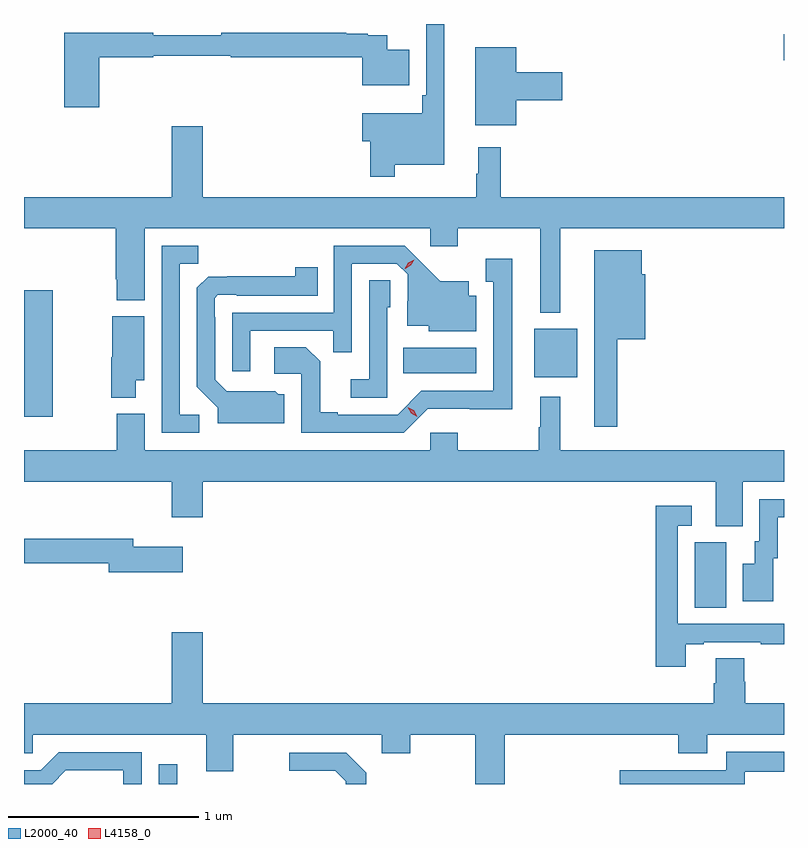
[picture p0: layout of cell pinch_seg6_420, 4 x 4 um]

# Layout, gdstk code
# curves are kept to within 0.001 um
import gdstk
lib = gdstk.Library(unit=1e-6, precision=1e-09)
def R(c, l, rs):  # rectangles x0, y0, x1, y1
    for r in rs: c.add(gdstk.rectangle(r[:2], r[2:], *l))
def P(c, l, *ps):  # polygons
    for p in ps: c.add(gdstk.Polygon(p, *l))
L2000_40 = (2000, 40)
L4158_0 = (4158, 0)

pinch_seg6_420 = lib.new_cell('pinch_seg6_420')
R(pinch_seg6_420, L2000_40, [(644.461,921.768,644.557,921.871), (647.282,922.696,647.446,923.04), (643.751,923.7,643.902,924.367), (646.436,923.909,646.663,924.163), (645.748,923.93,646.132,924.064), (647.75,925.578,647.751,925.714)])
P(pinch_seg6_420, L2000_40, [(645.703,925.028),(645.964,925.028),(645.964,925.768),(645.867,925.768),(645.867,925.393),(645.847,925.393),(645.847,925.297),(645.53,925.297),(645.53,925.15),(645.574,925.15),(645.574,924.963),(645.703,924.963)],
  [(644.147,925.594),(644.43,925.594),(644.43,925.602),(644.838,925.602),(644.838,925.594),(645.53,925.594),(645.53,925.445),(645.778,925.445),(645.778,925.633),(645.664,925.633),(645.664,925.71),(645.56,925.71),(645.56,925.716),(645.446,925.716),(645.446,925.723),(644.788,925.723),(644.788,925.71),(644.432,925.71),(644.432,925.723),(643.964,925.723),(643.964,925.329),(644.147,925.329)],
  [(646.342,925.367),(646.585,925.367),(646.585,925.514),(646.342,925.514),(646.342,925.645),(646.127,925.645),(646.127,925.235),(646.342,925.235)],
  [(646.573,924.692),(647.751,924.692),(647.751,924.856),(646.259,924.856),(646.259,925.12),(646.142,925.12),(646.142,924.98),(646.131,924.98),(646.131,924.856),(644.692,924.856),(644.692,925.231),(644.528,925.231),(644.528,924.856),(643.751,924.856),(643.751,924.692),(644.234,924.692),(644.234,924.424),(644.239,924.424),(644.239,924.314),(644.386,924.314),(644.386,924.692),(645.888,924.692),(645.888,924.597),(646.035,924.597),(646.035,924.692),(646.469,924.692),(646.469,924.248),(646.573,924.248)],
  [(644.943,924.153),(645.379,924.153),(645.379,924.04),(645.477,924.04),(645.477,924.507),(645.714,924.507),(645.771,924.45),(645.771,924.308),(645.767,924.308),(645.767,924.179),(645.882,924.179),(645.882,924.152),(646.132,924.152),(646.132,924.337),(646.093,924.337),(646.093,924.415),(645.941,924.415),(645.754,924.6),(645.381,924.6),(645.381,924.249),(644.847,924.249),(644.847,923.94),(644.943,923.94)],
  [(644.674,923.712),(644.571,923.712),(644.571,924.505),(644.667,924.505),(644.667,924.6),(644.475,924.6),(644.475,923.616),(644.674,923.616)],
  [(646.873,924.11),(647.02,924.11),(647.02,924.45),(647.002,924.45),(647.002,924.577),(646.751,924.577),(646.751,923.649),(646.873,923.649)],
  [(645.876,923.742),(646.321,923.741),(646.321,924.532),(646.181,924.532),(646.181,924.411),(646.22,924.411),(646.22,923.838),(645.843,923.838),(645.717,923.712),(645.403,923.712),(645.403,923.725),(645.309,923.725),(645.309,923.992),(645.233,924.068),(645.069,924.068),(645.069,923.928),(645.21,923.928),(645.21,923.616),(645.75,923.616)],
  [(645.121,923.82),(645.09,923.82),(645.074,923.836),(644.817,923.835),(644.757,923.895),(644.757,924.224),(644.754,924.224),(644.754,924.324),(644.772,924.342),(644.872,924.342),(644.872,924.339),(645.296,924.339),(645.296,924.487),(645.178,924.487),(645.178,924.44),(644.72,924.439),(644.661,924.38),(644.661,923.858),(644.771,923.748),(644.771,923.666),(645.121,923.666)],
  [(645.663,924.276),(645.678,924.276),(645.678,924.419),(645.567,924.419),(645.567,923.899),(645.471,923.899),(645.471,923.802),(645.663,923.802)],
  [(644.338,923.894),(644.383,923.894),(644.383,924.229),(644.216,924.229),(644.216,924.015),(644.209,924.015),(644.209,923.801),(644.338,923.801)],
  [(647.533,923.36),(647.751,923.36),(647.751,923.524),(646.573,923.524),(646.573,923.806),(646.469,923.806),(646.469,923.645),(646.459,923.645),(646.459,923.524),(646.035,923.524),(646.035,923.617),(645.888,923.617),(645.888,923.524),(644.386,923.524),(644.386,923.716),(644.239,923.716),(644.239,923.524),(643.751,923.524),(643.751,923.36),(644.528,923.36),(644.528,923.172),(644.692,923.172),(644.692,923.36),(647.393,923.36),(647.393,923.125),(647.533,923.125)],
  [(647.695,922.956),(647.719,922.956),(647.719,923.172),(647.751,923.172),(647.751,923.268),(647.622,923.268),(647.622,923.046),(647.597,923.046),(647.597,922.927),(647.534,922.927),(647.534,922.731),(647.695,922.731)],
  [(647.233,922.503),(647.329,922.503),(647.329,922.515),(647.629,922.515),(647.629,922.503),(647.751,922.503),(647.751,922.611),(647.193,922.611),(647.193,923.127),(647.266,923.127),(647.266,923.233),(647.077,923.233),(647.077,922.386),(647.233,922.386)],
  [(644.587,923.017),(644.326,923.017),(644.326,923.059),(643.751,923.059),(643.751,922.93),(644.198,922.93),(644.198,922.883),(644.587,922.883)],
  [(646.28,922.028),(647.195,922.028),(647.195,921.929),(647.347,921.929),(647.347,922.028),(647.751,922.028),(647.751,922.192),(647.546,922.192),(647.546,922.305),(647.541,922.305),(647.541,922.43),(647.393,922.43),(647.393,922.298),(647.381,922.298),(647.381,922.192),(644.692,922.192),(644.692,922.567),(644.528,922.567),(644.528,922.192),(643.751,922.192),(643.751,921.93),(643.797,921.93),(643.797,922.028),(644.711,922.028),(644.711,921.834),(644.851,921.834),(644.851,922.028),(645.635,922.028),(645.635,921.929),(645.783,921.929),(645.783,922.028),(646.127,922.028),(646.127,921.768),(646.28,921.768)],
  [(647.544,921.833),(647.751,921.833),(647.751,921.937),(647.448,921.937),(647.448,921.84),(646.887,921.84),(646.887,921.768),(647.544,921.768)],
  [(643.971,921.84),(644.274,921.84),(644.274,921.768),(644.37,921.768),(644.37,921.936),(643.935,921.936),(643.839,921.84),(643.751,921.84),(643.751,921.768),(643.899,921.768)],
  [(645.553,921.827),(645.447,921.933),(645.147,921.933),(645.147,921.837),(645.39,921.837),(645.444,921.783),(645.444,921.768),(645.553,921.768)])
P(pinch_seg6_420, L4158_0, [(645.821,923.701),(645.789,923.72),(645.771,923.752),(645.771,923.752),(645.771,923.752),(645.803,923.734),(645.821,923.702),(645.821,923.701)],
  [(645.756,924.481),(645.756,924.481),(645.773,924.511),(645.804,924.527),(645.804,924.527),(645.804,924.527),(645.787,924.497),(645.757,924.481)])

lib.write_gds('pinch_seg6_420.gds')
